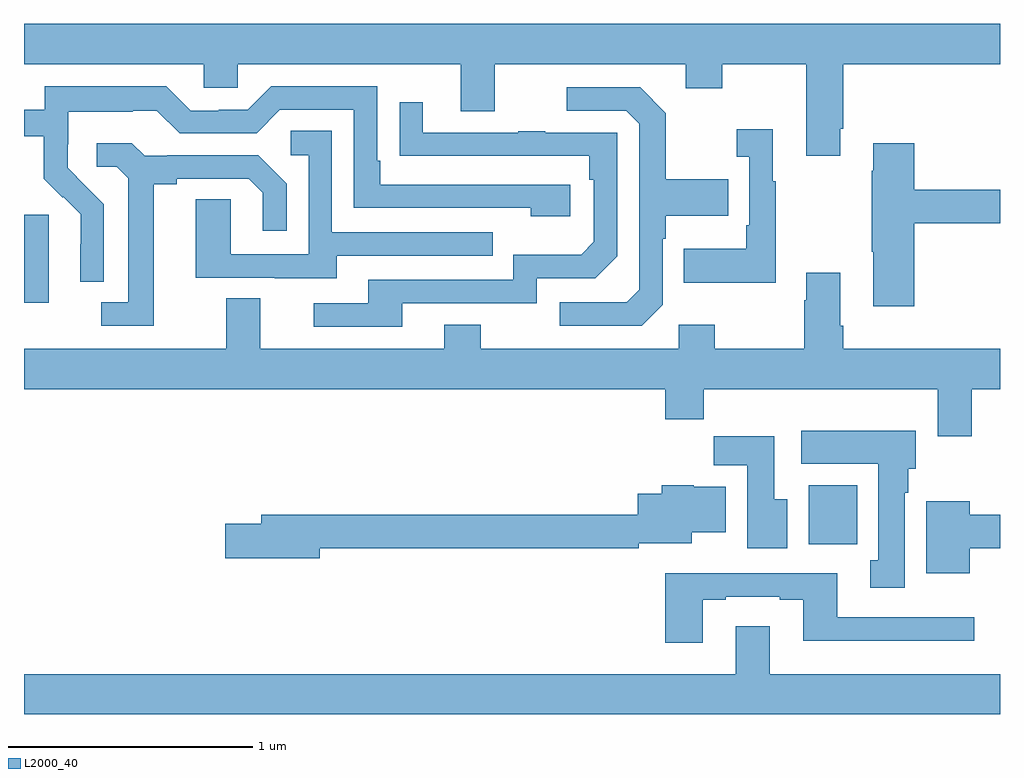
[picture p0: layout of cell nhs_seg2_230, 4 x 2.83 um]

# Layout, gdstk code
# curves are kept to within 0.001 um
import gdstk
lib = gdstk.Library(unit=1e-6, precision=1e-09)
def R(c, l, rs):  # rectangles x0, y0, x1, y1
    for r in rs: c.add(gdstk.rectangle(r[:2], r[2:], *l))
def P(c, l, *ps):  # polygons
    for p in ps: c.add(gdstk.Polygon(p, *l))
L2000_40 = (2000, 40)

nhs_seg2_230 = lib.new_cell('nhs_seg2_230')
R(nhs_seg2_230, L2000_40, [(124.217,661.652,124.414,661.894), (121,662.642,121.102,663.003)])
P(nhs_seg2_230, L2000_40, [(124.345,663.355),(124.358,663.355),(124.358,663.62),(125,663.62),(125,663.784),(121,663.784),(121,663.62),(121.737,663.62),(121.737,663.522),(121.875,663.522),(121.875,663.62),(122.789,663.62),(122.789,663.426),(122.929,663.426),(122.929,663.62),(123.713,663.62),(123.713,663.521),(123.861,663.521),(123.861,663.62),(124.205,663.62),(124.205,663.243),(124.345,663.243)],
  [(121.326,663.046),(121.18,663.194),(121.18,663.291),(121.182,663.291),(121.182,663.425),(121.445,663.425),(121.445,663.429),(121.545,663.429),(121.638,663.336),(121.953,663.336),(122.049,663.432),(122.352,663.432),(122.352,663.03),(123.077,663.03),(123.077,662.996),(123.238,662.996),(123.238,663.126),(122.461,663.126),(122.461,663.223),(122.448,663.223),(122.448,663.528),(122.013,663.528),(121.917,663.432),(121.799,663.432),(121.799,663.429),(121.683,663.429),(121.583,663.529),(121.086,663.529),(121.086,663.432),(121,663.432),(121,663.324),(121.081,663.324),(121.081,663.149),(121.158,663.072),(121.161,663.075),(121.232,663.005),(121.232,662.882),(121.23,662.882),(121.23,662.728),(121.326,662.728)],
  [(123.618,662.634),(123.618,662.903),(123.631,662.903),(123.631,662.999),(123.887,662.999),(123.887,663.147),(123.631,663.147),(123.631,663.419),(123.525,663.525),(123.225,663.525),(123.225,663.429),(123.468,663.429),(123.522,663.375),(123.522,662.694),(123.471,662.643),(123.195,662.643),(123.195,662.547),(123.531,662.547)],
  [(122.551,662.64),(123.102,662.64),(123.102,662.742),(123.342,662.742),(123.432,662.832),(123.432,663.339),(123.137,663.339),(123.137,663.344),(123.025,663.344),(123.025,663.339),(122.635,663.339),(122.635,663.463),(122.539,663.463),(122.539,663.244),(123.316,663.243),(123.316,663.146),(123.336,663.146),(123.336,662.892),(123.283,662.839),(123.006,662.839),(123.006,662.736),(122.411,662.736),(122.411,662.64),(122.187,662.64),(122.187,662.544),(122.551,662.544)],
  [(124.081,663.139),(124.069,663.139),(124.069,663.352),(123.921,663.352),(123.921,663.239),(123.972,663.239),(123.972,662.959),(123.96,662.959),(123.96,662.863),(123.703,662.863),(123.703,662.723),(124.081,662.723)],
  [(122.281,662.835),(122.921,662.835),(122.921,662.931),(122.262,662.931),(122.262,663.347),(122.094,663.347),(122.094,663.246),(122.166,663.246),(122.166,662.841),(121.848,662.841),(121.848,663.065),(121.703,663.065),(121.703,662.745),(122.027,662.745),(122.027,662.741),(122.281,662.741)],
  [(124.649,662.968),(125,662.968),(125,663.104),(124.649,663.104),(124.649,663.295),(124.481,663.295),(124.481,663.182),(124.474,663.182),(124.474,662.851),(124.481,662.851),(124.481,662.628),(124.649,662.628)],
  [(121.531,663.128),(121.627,663.128),(121.627,663.15),(121.922,663.15),(121.979,663.093),(121.979,662.937),(122.076,662.937),(122.076,663.13),(121.96,663.246),(121.588,663.246),(121.588,663.243),(121.494,663.243),(121.442,663.295),(121.299,663.295),(121.299,663.198),(121.38,663.198),(121.427,663.151),(121.427,662.643),(121.317,662.643),(121.317,662.547),(121.531,662.547)],
  [(124.885,662.288),(125,662.288),(125,662.452),(124.358,662.452),(124.358,662.548),(124.345,662.548),(124.345,662.764),(124.205,662.764),(124.205,662.651),(124.198,662.651),(124.198,662.452),(123.831,662.452),(123.831,662.551),(123.684,662.551),(123.684,662.452),(122.871,662.452),(122.871,662.551),(122.723,662.551),(122.723,662.452),(121.969,662.452),(121.969,662.66),(121.829,662.66),(121.829,662.452),(121,662.452),(121,662.288),(123.629,662.288),(123.629,662.164),(123.785,662.164),(123.785,662.288),(124.745,662.288),(124.745,662.094),(124.885,662.094)],
  [(124.609,661.862),(124.624,661.862),(124.624,661.962),(124.654,661.962),(124.654,662.116),(124.185,662.116),(124.185,661.982),(124.502,661.982),(124.502,661.586),(124.469,661.586),(124.469,661.473),(124.609,661.473)],
  [(124.129,661.836),(124.075,661.836),(124.075,662.095),(123.826,662.095),(123.826,661.976),(123.965,661.976),(123.965,661.635),(124.129,661.635)],
  [(122.212,661.636),(123.519,661.636),(123.519,661.655),(123.736,661.655),(123.736,661.7),(123.877,661.7),(123.877,661.888),(123.744,661.888),(123.744,661.894),(123.614,661.894),(123.614,661.858),(123.515,661.858),(123.515,661.772),(121.973,661.772),(121.973,661.736),(121.824,661.736),(121.824,661.594),(122.212,661.594)],
  [(124.876,661.636),(125,661.636),(125,661.772),(124.876,661.772),(124.876,661.828),(124.697,661.828),(124.697,661.532),(124.876,661.532)],
  [(123.781,661.425),(123.877,661.425),(123.877,661.437),(124.097,661.437),(124.097,661.425),(124.193,661.425),(124.193,661.256),(124.894,661.256),(124.894,661.353),(124.333,661.353),(124.333,661.533),(123.629,661.533),(123.629,661.248),(123.781,661.248)],
  [(125,661.12),(124.057,661.12),(124.057,661.315),(123.917,661.315),(123.917,661.12),(121,661.12),(121,660.956),(125,660.956)])

lib.write_gds('nhs_seg2_230.gds')
